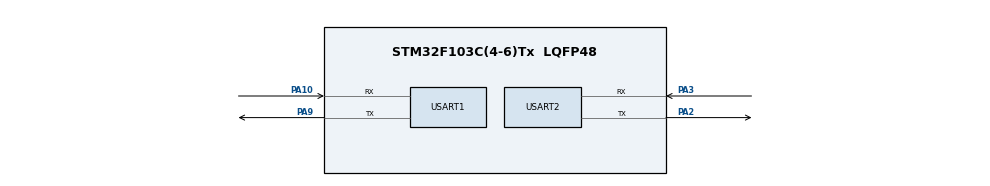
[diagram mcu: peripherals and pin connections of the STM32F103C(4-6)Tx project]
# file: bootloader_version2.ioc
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Mcu.Family=STM32F1
Mcu.Name=STM32F103C(4-6)Tx
Mcu.Package=LQFP48
NVIC.PriorityGroup=NVIC_PRIORITYGROUP_4
PA10.Mode=Asynchronous
PA10.Signal=USART1_RX
PA13.Mode=Serial_Wire
PA13.Signal=SYS_JTMS-SWDIO
PA14.Mode=Serial_Wire
PA14.Signal=SYS_JTCK-SWCLK
PA2.Mode=Asynchronous
PA2.Signal=USART2_TX
PA3.Mode=Asynchronous
PA3.Signal=USART2_RX
PA9.Mode=Asynchronous
PA9.Signal=USART1_TX
ProjectManager.HeapSize=0x200
ProjectManager.StackSize=0x400
ProjectManager.TargetToolchain=STM32CubeIDE
RCC.APB1Freq_Value=8000000
RCC.APB2Freq_Value=8000000
USART1.VirtualMode=VM_ASYNC
USART2.VirtualMode=VM_ASYNC
VP_CRC_VS_CRC.Mode=CRC_Activate
board=custom

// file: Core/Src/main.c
/* USER CODE BEGIN Header */
/**
  ******************************************************************************
  * @file           : main.c
  * @brief          : Main program body
  ******************************************************************************
  * @attention
  *
  * Copyright (c) 2024 STMicroelectronics.
  * All rights reserved.
  *
  * This software is licensed under terms that can be found in the LICENSE file
  * in the root directory of this software component.
  * If no LICENSE file comes with this software, it is provided AS-IS.
  *
  ******************************************************************************
  */
/* USER CODE END Header */
#include "main.h"
#include "crc.h"
#include "usart.h"
#include "gpio.h"

/* USER CODE BEGIN Includes */
#include "bootloader.h"

/* USER CODE END Includes */

void SystemClock_Config(void);

/* USER CODE BEGIN 0 */
uint8_t check[16]="Bootloader Start";
uint8_t Erase[16]="Bootloader Erase";
uint8_t start[16]={0};
uint8_t flag=0;
uint8_t ckeakStart()
{
	uint8_t count=0;
	HAL_UART_Receive(&huart1, start, sizeof(check), HAL_MAX_DELAY);

	while(check[count]!='\0')
	{
		if(start[count] != check[count])
			break;
		count++;
	}
	if(count == 16)
		return 1;

	else{
		count=0;
		while(Erase[count]!='\0')
		{
			if(start[count] != Erase[count])
				break;
			count++;
		}
		if(count == 16)
			return 2;
	}
	return 0;
}
/* USER CODE END 0 */

int main(void)
{

  /* MCU Configuration--------------------------------------------------------*/

  /* Reset of all peripherals, Initializes the Flash interface and the Systick. */
  HAL_Init();

  /* Configure the system clock */
  SystemClock_Config();

  /* Initialize all configured peripherals */
  MX_GPIO_Init();
  MX_CRC_Init();
  MX_USART1_UART_Init();
  MX_USART2_UART_Init();
  /* USER CODE BEGIN 2 */
  //BL_SendMessage("hello bootloader %d");
  //uint8_t HOST_Buffer[20]={0};
 //HAL_UART_Receive(&huart2 ,HOST_Buffer,1,HAL_MAX_DELAY);
  /* USER CODE END 2 */

  /* Infinite loop */
  while (1)
  {

    /* USER CODE BEGIN 3 */

	  uint8_t d=ckeakStart();
	  if(d== 1)
	  {
		  //HAL_UART_Receive(&huart2, &hh, 1, HAL_MAX_DELAY);

		  BL_FeatchHostCommand();
	  }
	  else if(d==2)
	  {
		  Perform_Flash_Erase(0x8002900,12);
	  }
	  else{
		  Bootloader_Jump_To_User_App();//it will have a hard fault if no application is there
	  }

  }
  /* USER CODE END 3 */
}

void SystemClock_Config(void)
{
  RCC_OscInitTypeDef RCC_OscInitStruct = {0};
  RCC_ClkInitTypeDef RCC_ClkInitStruct = {0};

  /** Initializes the RCC Oscillators according to the specified parameters
  * in the RCC_OscInitTypeDef structure.
  */
  RCC_OscInitStruct.OscillatorType = RCC_OSCILLATORTYPE_HSI;
  RCC_OscInitStruct.HSIState = RCC_HSI_ON;
  RCC_OscInitStruct.HSICalibrationValue = RCC_HSICALIBRATION_DEFAULT;
  RCC_OscInitStruct.PLL.PLLState = RCC_PLL_NONE;
  if (HAL_RCC_OscConfig(&RCC_OscInitStruct) != HAL_OK)
  {
    Error_Handler();
  }

  /** Initializes the CPU, AHB and APB buses clocks
  */
  RCC_ClkInitStruct.ClockType = RCC_CLOCKTYPE_HCLK|RCC_CLOCKTYPE_SYSCLK
                              |RCC_CLOCKTYPE_PCLK1|RCC_CLOCKTYPE_PCLK2;
  RCC_ClkInitStruct.SYSCLKSource = RCC_SYSCLKSOURCE_HSI;
  RCC_ClkInitStruct.AHBCLKDivider = RCC_SYSCLK_DIV1;
  RCC_ClkInitStruct.APB1CLKDivider = RCC_HCLK_DIV1;
  RCC_ClkInitStruct.APB2CLKDivider = RCC_HCLK_DIV1;

  if (HAL_RCC_ClockConfig(&RCC_ClkInitStruct, FLASH_LATENCY_0) != HAL_OK)
  {
    Error_Handler();
  }
}

void Error_Handler(void)
{
  __disable_irq();
  while (1)
  {
  }
}
